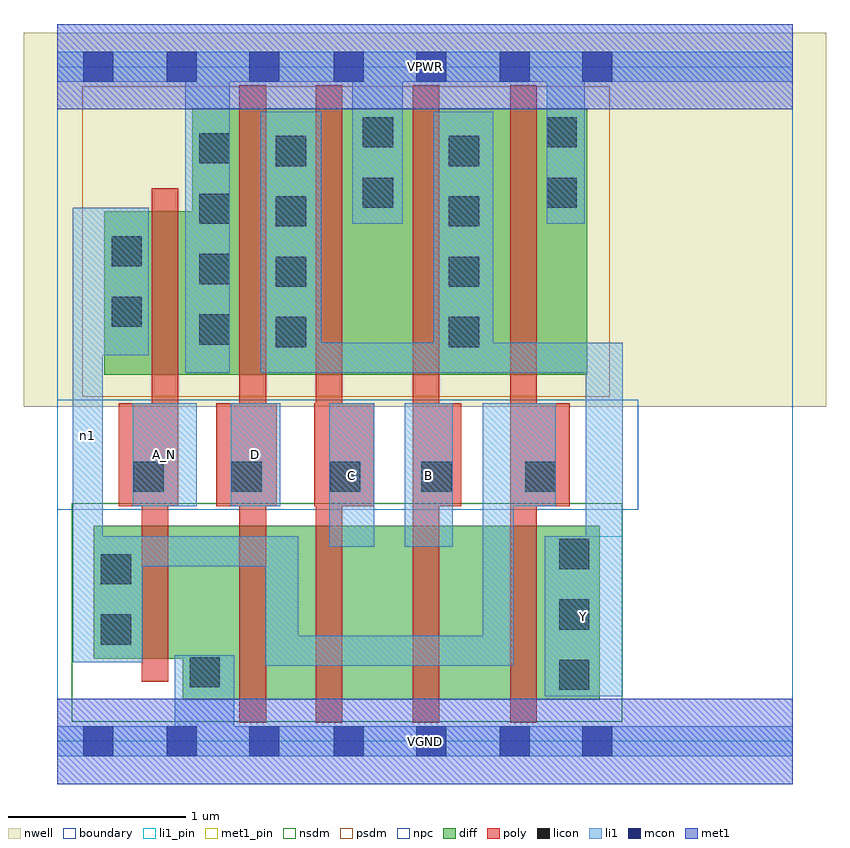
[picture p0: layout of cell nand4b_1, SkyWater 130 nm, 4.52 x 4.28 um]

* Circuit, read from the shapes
.subckt nand4b_1 A_N B C D VGND VPWR Y n1
XM1 VGND A_N n1 VSUBS sky130_fd_pr__nfet_01v8 w=0.75 l=0.15
XM2 n2 D VGND VSUBS sky130_fd_pr__nfet_01v8 w=0.98 l=0.15
XM3 n3 C n2 VSUBS sky130_fd_pr__nfet_01v8 w=0.98 l=0.15
XM4 n4 B n3 VSUBS sky130_fd_pr__nfet_01v8 w=0.98 l=0.15
XM5 Y n1 n4 VSUBS sky130_fd_pr__nfet_01v8 w=0.98 l=0.15
XM6 VPWR A_N n1 n5 sky130_fd_pr__pfet_01v8 w=0.92 l=0.15
XM7 Y D VPWR n5 sky130_fd_pr__pfet_01v8 w=1.5 l=0.15
XM8 VPWR C Y n5 sky130_fd_pr__pfet_01v8 w=1.5 l=0.15
XM9 Y B VPWR n5 sky130_fd_pr__pfet_01v8 w=1.5 l=0.15
XM10 VPWR n1 Y n5 sky130_fd_pr__pfet_01v8 w=1.5 l=0.15
.ends

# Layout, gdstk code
import gdstk
lib = gdstk.Library(unit=1e-6, precision=1e-09)
def R(c, l, rs):  # rectangles x0, y0, x1, y1
    for r in rs: c.add(gdstk.rectangle(r[:2], r[2:], *l))
def A(c, l, x, y, w, h, nx, ny, dx, dy):  # array of equal rectangles
    R(c, l, [(x+i*dx, y+j*dy, x+i*dx+w, y+j*dy+h) for i in range(nx) for j in range(ny)])
nwell = (64, 20)
diff = (65, 20)
poly = (66, 20)
licon = (66, 44)
li1_pin = (67, 16)
li1 = (67, 20)
mcon = (67, 44)
met1_pin = (68, 16)
met1 = (68, 20)
nsdm = (93, 44)
psdm = (94, 20)
npc = (95, 20)
boundary = (235, 4)

nand4b_1 = lib.new_cell('nand4b_1')
R(nand4b_1, nwell, [(-0.19,1.885,4.33,3.99), (0,1.885,4.14,3.99)])
R(nand4b_1, diff, [(0.705,0.235,3.055,1.215), (0.205,0.465,3.055,1.215), (0.265,2.065,2.985,2.985), (0.76,2.065,2.985,3.565)])
R(nand4b_1, poly, [(1.025,0.105,1.175,3.695), (1.455,0.105,1.605,3.695), (2,0.105,2.15,3.695), (2.55,0.105,2.7,3.695), (0.475,0.335,0.625,1.905), (0.345,1.325,0.68,1.905), (0.53,1.325,0.68,3.115), (0.895,1.325,1.235,1.905), (1.445,1.325,1.785,1.905), (2,1.325,2.275,1.905), (2.55,1.325,2.885,1.905)])
A(nand4b_1, licon, 2.825, 0.29, 0.17, 0.17, 1, 3, 0, 0.34)
A(nand4b_1, licon, 1.23, 2.22, 0.17, 0.17, 1, 4, 0, 0.34)
A(nand4b_1, licon, 2.205, 2.22, 0.17, 0.17, 1, 4, 0, 0.34)
A(nand4b_1, licon, 0.8, 2.235, 0.17, 0.17, 1, 4, 0, 0.34)
R(nand4b_1, licon, [(0.745,0.305,0.915,0.475), (0.245,0.545,0.415,0.715), (0.245,0.885,0.415,1.055), (0.43,1.405,0.6,1.575), (0.98,1.405,1.15,1.575), (1.535,1.405,1.705,1.575), (2.05,1.405,2.22,1.575), (2.635,1.405,2.805,1.575), (0.305,2.335,0.475,2.505), (0.305,2.675,0.475,2.845), (1.72,3.005,1.89,3.175), (2.755,3.005,2.925,3.175), (1.72,3.345,1.89,3.515), (2.755,3.345,2.925,3.515)])
R(nand4b_1, li1_pin, [(2.745,0.255,3.185,1.155), (1.53,1.095,1.785,1.905), (1.955,1.095,2.225,1.905), (0.425,1.325,0.785,1.905), (0.975,1.325,1.255,1.905)])
R(nand4b_1, li1, [(0,-0.085,4.14,0.085), (0.66,-0.085,0.995,0.485), (2.745,0.255,3.185,1.155), (2.975,0.255,3.185,2.245), (1.17,0.425,2.57,0.595), (1.17,0.425,1.355,1.155), (2.395,0.425,2.57,1.905), (0.085,0.445,0.255,3.005), (0.085,0.445,0.48,1.155), (0.085,0.985,1.355,1.155), (1.53,1.095,1.785,1.905), (1.955,1.095,2.225,1.905), (0.425,1.325,0.785,1.905), (0.975,1.325,1.255,1.905), (2.395,1.325,2.805,1.905), (0.72,2.075,0.97,3.885), (1.145,2.075,3.185,2.245), (1.145,2.075,1.485,3.545), (2.12,2.075,2.455,3.545), (0.085,2.175,0.515,3.005), (1.66,2.915,1.945,3.885), (2.755,2.915,2.97,3.885), (0,3.715,4.14,3.885)])
R(nand4b_1, mcon, [(0.145,-0.085,0.315,0.085), (0.615,-0.085,0.785,0.085), (1.08,-0.085,1.25,0.085), (1.555,-0.085,1.725,0.085), (2.02,-0.085,2.19,0.085), (2.49,-0.085,2.66,0.085), (2.955,-0.085,3.125,0.085), (0.145,3.715,0.315,3.885), (0.615,3.715,0.785,3.885), (1.08,3.715,1.25,3.885), (1.555,3.715,1.725,3.885), (2.02,3.715,2.19,3.885), (2.49,3.715,2.66,3.885), (2.955,3.715,3.125,3.885)])
R(nand4b_1, met1_pin, [(0,-0.24,4.14,0.24), (0,3.56,4.14,4.04)])
R(nand4b_1, met1, [(0,-0.24,4.14,0.24), (0,3.56,4.14,4.04)])
R(nand4b_1, nsdm, [(0.08,0.11,3.18,1.34)])
R(nand4b_1, psdm, [(0.14,1.94,3.11,3.69)])
R(nand4b_1, npc, [(0,1.305,3.27,1.925)])
R(nand4b_1, boundary, [(0,0,4.14,3.8)])
nand4b_1.add(gdstk.Label('A_N', (0.605,1.615), layer=67, texttype=5))
nand4b_1.add(gdstk.Label('B', (2.09,1.5), layer=67, texttype=5))
nand4b_1.add(gdstk.Label('C', (1.657,1.5), layer=67, texttype=5))
nand4b_1.add(gdstk.Label('D', (1.115,1.615), layer=67, texttype=5))
nand4b_1.add(gdstk.Label('Y', (2.965,0.705), layer=67, texttype=5))
nand4b_1.add(gdstk.Label('n1', (0.17,1.725), layer=67, texttype=5))
nand4b_1.add(gdstk.Label('VPWR', (2.07,3.8), layer=68, texttype=5))
nand4b_1.add(gdstk.Label('VGND', (2.07,0), layer=68, texttype=5))
nand4b_1.add(gdstk.Label('A_N', (0.605,1.615), layer=67, texttype=16))
nand4b_1.add(gdstk.Label('B', (2.09,1.5), layer=67, texttype=16))
nand4b_1.add(gdstk.Label('C', (1.657,1.5), layer=67, texttype=16))
nand4b_1.add(gdstk.Label('D', (1.115,1.615), layer=67, texttype=16))
nand4b_1.add(gdstk.Label('Y', (2.965,0.705), layer=67, texttype=16))
nand4b_1.add(gdstk.Label('VPWR', (2.07,3.8), layer=68, texttype=16))
nand4b_1.add(gdstk.Label('VGND', (2.07,0), layer=68, texttype=16))

lib.write_gds('nand4b_1.gds')
